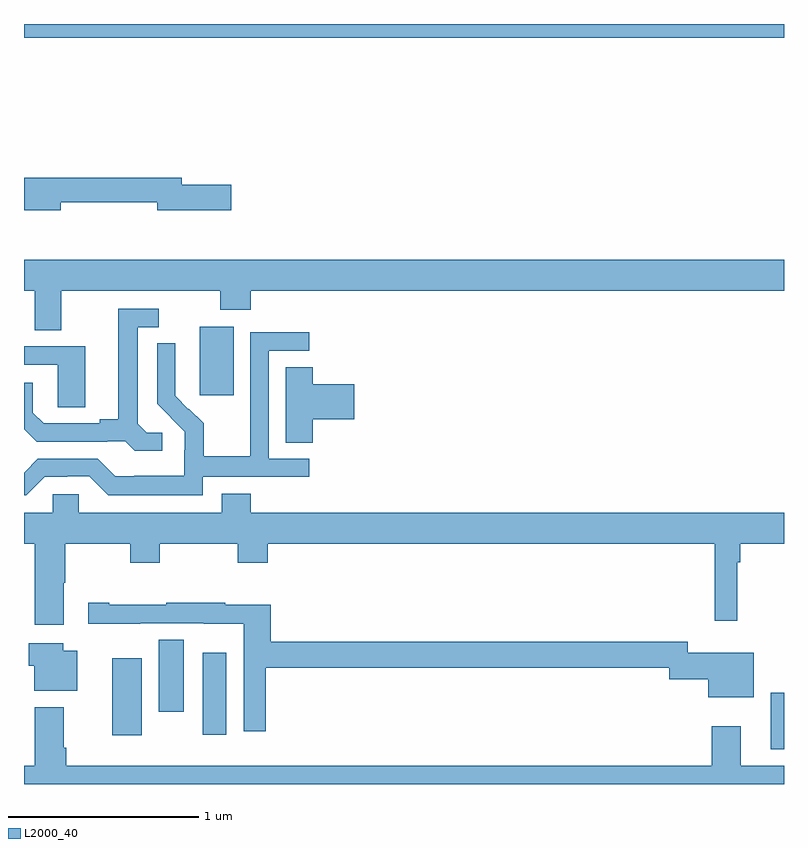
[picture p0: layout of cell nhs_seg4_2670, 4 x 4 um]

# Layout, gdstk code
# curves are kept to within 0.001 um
import gdstk
lib = gdstk.Library(unit=1e-6, precision=1e-09)
def R(c, l, rs):  # rectangles x0, y0, x1, y1
    for r in rs: c.add(gdstk.rectangle(r[:2], r[2:], *l))
def P(c, l, *ps):  # polygons
    for p in ps: c.add(gdstk.Polygon(p, *l))
L2000_40 = (2000, 40)

nhs_seg4_2670 = lib.new_cell('nhs_seg4_2670')
R(nhs_seg4_2670, L2000_40, [(254.93,785.082,255,785.379), (251.465,785.157,251.62,785.563), (251.942,785.16,252.064,785.59), (251.708,785.28,251.842,785.66), (251.924,786.945,252.103,787.306), (251,788.828,255,788.9)])
P(nhs_seg4_2670, L2000_40, [(251.194,787.962),(251.702,787.962),(251.702,787.919),(252.091,787.919),(252.091,788.054),(251.83,788.054),(251.83,788.09),(251,788.09),(251,787.919),(251.194,787.919)],
  [(251.197,787.496),(252.034,787.496),(252.034,787.397),(252.194,787.397),(252.194,787.496),(255,787.496),(255,787.66),(251,787.66),(251,787.496),(251.057,787.496),(251.057,787.288),(251.197,787.288)],
  [(251.728,786.75),(251.646,786.75),(251.599,786.797),(251.599,787.305),(251.71,787.305),(251.71,787.401),(251.495,787.401),(251.495,786.821),(251.399,786.821),(251.399,786.798),(251.104,786.798),(251.047,786.855),(251.047,787.012),(251,787.012),(251,786.768),(251.066,786.702),(251.438,786.702),(251.438,786.705),(251.532,786.705),(251.584,786.653),(251.728,786.653)],
  [(251.94,786.516),(252.502,786.516),(252.502,786.612),(252.288,786.612),(252.288,787.179),(252.502,787.179),(252.502,787.278),(252.192,787.278),(252.192,786.848),(252.19,786.848),(252.19,786.625),(251.945,786.625),(251.945,786.799),(251.868,786.876),(251.865,786.873),(251.795,786.944),(251.796,787.22),(251.7,787.22),(251.7,786.902),(251.846,786.754),(251.846,786.657),(251.844,786.657),(251.844,786.523),(251.581,786.523),(251.581,786.519),(251.481,786.519),(251.388,786.612),(251.073,786.612),(251,786.539),(251,786.42),(251.013,786.42),(251.109,786.516),(251.228,786.516),(251.228,786.519),(251.343,786.519),(251.443,786.419),(251.94,786.419)],
  [(251.323,787.203),(251,787.203),(251,787.107),(251.178,787.107),(251.178,786.883),(251.323,786.883)],
  [(252.521,786.821),(252.739,786.821),(252.739,787.004),(252.521,787.004),(252.521,787.094),(252.377,787.094),(252.377,786.697),(252.521,786.697)],
  [(251.209,785.96),(251.217,785.96),(251.217,786.164),(251.56,786.164),(251.56,786.065),(251.715,786.065),(251.715,786.164),(252.124,786.164),(252.124,786.065),(252.284,786.065),(252.284,786.164),(254.635,786.164),(254.635,785.76),(254.754,785.76),(254.754,786.068),(254.771,786.068),(254.771,786.164),(255,786.164),(255,786.328),(252.194,786.328),(252.194,786.427),(252.041,786.427),(252.041,786.328),(251.289,786.328),(251.289,786.426),(251.151,786.426),(251.151,786.328),(251,786.328),(251,786.164),(251.057,786.164),(251.057,785.739),(251.209,785.739)],
  [(252.272,785.512),(254.397,785.512),(254.397,785.451),(254.6,785.451),(254.6,785.357),(254.842,785.357),(254.842,785.59),(254.493,785.59),(254.493,785.648),(252.299,785.648),(252.299,785.844),(252.059,785.844),(252.059,785.854),(251.749,785.854),(251.749,785.844),(251.449,785.844),(251.449,785.854),(251.337,785.854),(251.337,785.744),(251.612,785.744),(251.612,785.745),(251.946,785.745),(251.946,785.744),(252.156,785.744),(252.156,785.178),(252.272,785.178)],
  [(251.281,785.602),(251.207,785.602),(251.207,785.641),(251.024,785.641),(251.024,785.523),(251.054,785.523),(251.054,785.39),(251.281,785.39)],
  [(255,784.996),(254.773,784.996),(254.773,785.203),(254.621,785.203),(254.621,784.996),(251.222,784.996),(251.222,785.092),(251.209,785.092),(251.209,785.305),(251.057,785.305),(251.057,784.996),(251,784.996),(251,784.9),(255,784.9)])

lib.write_gds('nhs_seg4_2670.gds')
